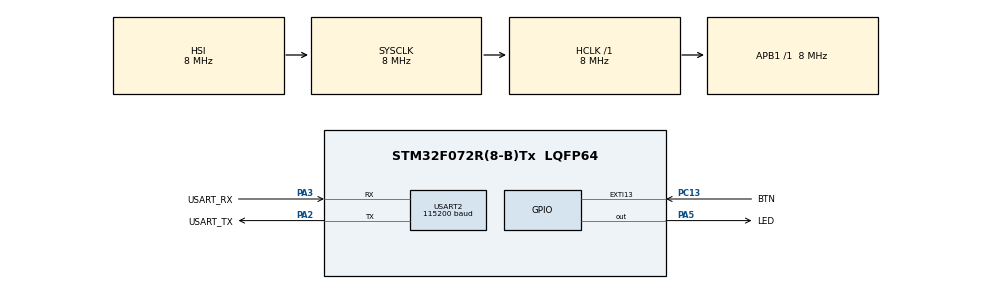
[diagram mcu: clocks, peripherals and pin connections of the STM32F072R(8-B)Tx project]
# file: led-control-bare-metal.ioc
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Mcu.Family=STM32F0
Mcu.Name=STM32F072R(8-B)Tx
Mcu.Package=LQFP64
NVIC.EXTI4_15_IRQn=true\:0\:0\:false\:false\:true\:true\:true\:true
NVIC.RTC_IRQn=true\:0\:0\:false\:false\:true\:true\:true\:true
NVIC.TIM17_IRQn=true\:0\:0\:false\:false\:true\:true\:true\:true
NVIC.USART2_IRQn=true\:0\:0\:false\:false\:true\:true\:true\:true
PA13.GPIO_Label=SWDIO
PA13.Mode=Serial_Wire
PA13.Signal=SYS_SWDIO
PA14.GPIO_Label=SWCLK
PA14.Mode=Serial_Wire
PA14.Signal=SYS_SWCLK
PA2.GPIO_Label=USART_TX
PA2.GPIO_Mode=GPIO_MODE_AF_PP
PA2.GPIO_PuPd=GPIO_NOPULL
PA2.GPIO_Speed=GPIO_SPEED_FREQ_LOW
PA2.Mode=Asynchronous
PA2.Signal=USART2_TX
PA3.GPIO_Label=USART_RX
PA3.GPIO_Mode=GPIO_MODE_AF_PP
PA3.GPIO_PuPd=GPIO_NOPULL
PA3.GPIO_Speed=GPIO_SPEED_FREQ_LOW
PA3.Mode=Asynchronous
PA3.Signal=USART2_RX
PA5.GPIO_Label=LED
PA5.GPIO_Mode=GPIO_MODE_OUTPUT_PP
PA5.GPIO_PuPd=GPIO_NOPULL
PA5.GPIO_Speed=GPIO_SPEED_FREQ_LOW
PA5.Signal=GPIO_Output
PC13.GPIO_Label=BTN
PC13.GPIO_ModeDefaultEXTI=GPIO_MODE_IT_RISING_FALLING
PC13.Signal=GPXTI13
PC14-OSC32_IN.Mode=LSE-External-Oscillator
PC14-OSC32_IN.Signal=RCC_OSC32_IN
PC15-OSC32_OUT.Mode=LSE-External-Oscillator
PC15-OSC32_OUT.Signal=RCC_OSC32_OUT
ProjectManager.HeapSize=0x200
ProjectManager.StackSize=0x400
ProjectManager.TargetToolchain=STM32CubeIDE
RCC.AHBFreq_Value=8000000
RCC.APB1Freq_Value=8000000
RCC.APB1TimFreq_Value=8000000
RCC.FLatency-AdvancedSettings=FLASH_LATENCY_0
RCC.HCLKFreq_Value=8000000
RCC.PLLDivider=RCC_PREDIV_DIV2
RCC.PLLMUL=RCC_PLL_MUL12
RCC.PREFETCH_ENABLE-AdvancedSettings=1
RCC.RTCClockSelection=RCC_RTCCLKSOURCE_LSE
RCC.SYSCLKFreq_VALUE=8000000
RTC.WakeUpClock-WakeUp=RTC_WAKEUPCLOCK_CK_SPRE_16BITS
TIM17.Period=65535
TIM17.Prescaler=7999
USART2.BaudRate=115200
USART2.VirtualMode=VM_ASYNC
USART2.VirtualMode-Asynchronous=VM_ASYNC
VP_RTC_VS_RTC_Activate.Mode=RTC_Enabled
VP_RTC_VS_RTC_WakeUp_intern.Mode=WakeUp
VP_TIM17_VS_ClockSourceINT.Mode=Enable_Timer
board=NUCLEO-F072RB

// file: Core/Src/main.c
/* USER CODE BEGIN Header */
/**
 ******************************************************************************
 * @file           : main.c
 * @brief          : Main program body
 ******************************************************************************
 * @attention
 *
 * Copyright (c) 2023 STMicroelectronics.
 * All rights reserved.
 *
 * This software is licensed under terms that can be found in the LICENSE file
 * in the root directory of this software component.
 * If no LICENSE file comes with this software, it is provided AS-IS.
 *
 ******************************************************************************
 */
/* USER CODE END Header */
#include "main.h"
#include "gpio.h"
#include "rtc.h"
#include "tim.h"
#include "usart.h"

/* USER CODE BEGIN Includes */
#include "button.h"

/* USER CODE END Includes */

/* USER CODE BEGIN PV */

static const char big_msg[] = "a191f8d6ea9cadff3ff58a915d6f0318f6caf45e1762fa381\
61c7266ad4ab1b5ddd530a72f3ef17c592805e3ea60aa69ae103a079fa6a9e471d06d5b441bf0f2b\
62f40fd7c6c58e5548e18e0690376b317a143d3795a479c4c2f680a792be26eaa9c7745c52d8ded6\
b3c7a9f0335c7a9e1039b176a15c1805f09fcefcbd94890b985f7ecdbe33b11d564c38cfa35a9f9a\
65cbb1bbc1d1a85a60a035ceb5d7d1c409854692ea30796615d516ee9a9f7c7418b8809d01ae9763\
e992b57884335143e2b65de13e77013479b12d7e150135f7500f86891e31df4e351a5fd60c5a1229\
bae58fa81a82421c54dceaf9cd77297bc76edc6ca4df462e6c26b02b18e4341f96e8cd68df581306\
62c4836c5f6c150ca7c42a539558e080d6efdaf015710d347eb5e14b69c07052f388d398f9bfe02c\
e01075b180d86ac9a5ad47a67f353c40849b88fc842d72508b1eadec6fb40fe184d6af61822d9a4f\
53224c9d99f1b5978b0f502273d0811a0f0468d6ad4c8423cf14218d0b5f3edef6fb48d2b1e86456\
6a728d03d0615a6b86327e6d86ca695c168f932aaf4d925d915a42229a717ca9a372e3e2b45947dd\
402fe7a74a8dda1a7843096f9ea8224cfc0c833238b083abc172379ca508ae8bf759e87e3a487dc3\
61c7266ad4ab1b5ddd530a72f3ef17c592805e3ea60aa69ae103a079fa6a9e471d06d5b441bf0f2b\
62f40fd7c6c58e5548e18e0690376b317a143d3795a479c4c2f680a792be26eaa9c7745c52d8ded6\
b3c7a9f0335c7a9e1039b176a15c1805f09fcefcbd94890b985f7ecdbe33b11d564c38cfa35a9f9a\
65cbb1bbc1d1a85a60a035ceb5d7d1c409854692ea30796615d516ee9a9f7c7418b8809d01ae9763\
bae58fa81a82421c54dceaf9cd77297bc76edc6ca4df462e6c26b02b18e4341f96e8cd68df581306\
62f40fd7c6c58e5548e18e0690376b317a143d3795a479c4c2f680a792be26eaa9c7745c52d8ded6\
b3c7a9f0335c7a9e1039b176a15c1805f09fcefcbd94890b985f7ecdbe33b11d564c38cfa35a9f9a\
65cbb1bbc1d1a85a60a035ceb5d7d1c409854692ea30796615d516ee9a9f7c7418b8809d01ae9763\
e992b57884335143e2b65de13e77013479b12d7e150135f7500f86891e31df4e351a5fd60c5a1229\
bae58fa81a82421c54dceaf9cd77297bc76edc6ca4df462e6c26b02b18e4341f96e8cd68df581306\
62c4836c5f6c150ca7c42a539558e080d6efdaf015710d347eb5e14b69c07052f388d398f9bfe02c\
e01075b180d86ac9a5ad47a67f353c40849b88fc842d72508b1eadec6fb40fe184d6af61822d9a4f\
53224c9d99f1b5978b0f502273d0811a0f0468d6ad4c8423cf14218d0b5f3edef6fb48d2b1e86456\
6a728d03d0615a6b86327e6d86ca695c168f932aaf4d925d915a42229a717ca9a372e3e2b45947dd\
402fe7a74a8dda1a7843096f9ea8224cfc0c833238b083abc172379ca508ae8bf759e87e3a487dc3\
e992b57884335143e2b65de13e77013479b12d7e150135f7500f86891e31df4e351a5fd60c5a1229\
bae58fa81a82421c54dceaf9cd77297bc76edc6ca4df462e6c26b02b18e4341f96e8cd68df581306\
62c4836c5f6c150ca7c42a539558e080d6efdaf015710d347eb5e14b69c07052f388d398f9bfe02c\
e01075b180d86ac9a5ad47a67f353c40849b88fc842d72508b1eadec6fb40fe184d6af61822d9a4f\
53224c9d99f1b5978b0f502273d0811a0f0468d6ad4c8423cf14218d0b5f3edef6fb48d2b1e86456\
6a728d03d0615a6b86327e6d86ca695c168f932aaf4d925d915a42229a717ca9a372e3e2b45947dd\
402fe7a74a8dda1a7843096f9ea8224cfc0c833238b083abc172379ca508ae8bf759e87e3a487dc3\
61c7266ad4ab1b5ddd530a72f3ef17c592805e3ea60aa69ae103a079fa6a9e471d06d5b441bf0f2b\
62f40fd7c6c58e5548e18e0690376b317a143d3795a479c4c2f680a792be26eaa9c7745c52d8ded6\
b3c7a9f0335c7a9e1039b176a15c1805f09fcefcbd94890b985f7ecdbe33b11d564c38cfa35a9f9a\
65cbb1bbc1d1a85a60a035ceb5d7d1c409854692ea30796615d516ee9a9f7c7418b8809d01ae9763\
e992b57884335143e2b65de13e77013479b12d7e150135f7500f86891e31df4e351a5fd60c5a1229\
65cbb1bbc1d1a85a60a035ceb5d7d1c409854692ea30796615d516ee9a9f7c7418b8809d01ae9763\
e992b57884335143e2b65de13e77013479b12d7e150135f7500f86891e31df4e351a5fd60c5a1229\
bae58fa81a82421c54dceaf9cd77297bc76edc6ca4df462e6c26b02b18e4341f96e8cd68df581306\
62c4836c5f6c150ca7c42a539558e080d6efdaf015710d347eb5e14b69c07052f388d398f9bfe02c\
e01075b180d86ac9a5ad47a67f353c40849b88fc842d72508b1eadec6fb40fe184d6af61822d9a4f\
bae58fa81a82421c54dceaf9cd77297bc76edc6ca4df462e6c26b02b18e4341f96e8cd68df581306\
62c4836c5f6c150ca7c42a539558e080d6efdaf015710d347eb5e14b69c07052f388d398f9bfe02c\
e01075b180d86ac9a5ad47a67f353c40849b88fc842d72508b1eadec6fb40fe184d6af61822d9a4f\
53224c9d99f1b5978b0f502273d0811a0f0468d6ad4c8423cf14218d0b5f3edef6fb48d2b1e86456\
6a728d03d0615a6b86327e6d86ca695c168f932aaf4d925d915a42229a717ca9a372e3e2b45947dd\
402fe7a74a8dda1a7843096f9ea8224cfc0c833238b083abc172379ca508ae8bf759e87e3a487dc3\
a915a66fd4e2da9484811bb0c8dcc644bd9acd8a8081d90240aa700a97240033dd0d4f2gz37h6dr4\
rf5r54dceaf9cd77297bc76ed24cfc08fc842d7c83v6gh";

/* USER CODE END PV */

void SystemClock_Config(void);
/* USER CODE BEGIN PFP */

void user_click_event(void);
void enter_sequence_running(void);
void enter_sequence_stanby(void);
void stop_sequence(void);

/* USER CODE END PFP */

int main(void)
{

    /* MCU Configuration--------------------------------------------------------*/

    /* Reset of all peripherals, Initializes the Flash interface and the Systick. */
    HAL_Init();

    /* Configure the system clock */
    SystemClock_Config();

    /* Initialize all configured peripherals */
    MX_GPIO_Init();
    MX_RTC_Init();
    MX_TIM17_Init();
    MX_USART2_UART_Init();
    /* USER CODE BEGIN 2 */

    infoPrintln("Device started !");

    reset_button_variables();

    button_event_t btn_state;

    /* USER CODE END 2 */

    /* Infinite loop */
    /* USER CODE BEGIN WHILE */
    while (1) {
        /* Read the btn event */
        btn_state = get_button_state();

        if (btn_state == BTN_CLICK) {
            user_click_event();
        }

        if (btn_state == BTN_DOUBLE_CLICK) {
            /* Send the big frame over UART */
            uart2_print(big_msg, sizeof(big_msg));
        }

        /* USER CODE END WHILE */

    }
}

void SystemClock_Config(void)
{
    RCC_OscInitTypeDef       RCC_OscInitStruct = { 0 };
    RCC_ClkInitTypeDef       RCC_ClkInitStruct = { 0 };
    RCC_PeriphCLKInitTypeDef PeriphClkInit     = { 0 };

    /** Configure LSE Drive Capability
     */
    HAL_PWR_EnableBkUpAccess();
    __HAL_RCC_LSEDRIVE_CONFIG(RCC_LSEDRIVE_HIGH);

    /** Initializes the RCC Oscillators according to the specified parameters
     * in the RCC_OscInitTypeDef structure.
     */
    RCC_OscInitStruct.OscillatorType      = RCC_OSCILLATORTYPE_HSI | RCC_OSCILLATORTYPE_LSE;
    RCC_OscInitStruct.LSEState            = RCC_LSE_ON;
    RCC_OscInitStruct.HSIState            = RCC_HSI_ON;
    RCC_OscInitStruct.HSICalibrationValue = RCC_HSICALIBRATION_DEFAULT;
    RCC_OscInitStruct.PLL.PLLState        = RCC_PLL_NONE;
    if (HAL_RCC_OscConfig(&RCC_OscInitStruct) != HAL_OK) {
        Error_Handler();
    }

    /** Initializes the CPU, AHB and APB buses clocks
     */
    RCC_ClkInitStruct.ClockType = RCC_CLOCKTYPE_HCLK | RCC_CLOCKTYPE_SYSCLK
        | RCC_CLOCKTYPE_PCLK1;
    RCC_ClkInitStruct.SYSCLKSource   = RCC_SYSCLKSOURCE_HSI;
    RCC_ClkInitStruct.AHBCLKDivider  = RCC_SYSCLK_DIV1;
    RCC_ClkInitStruct.APB1CLKDivider = RCC_HCLK_DIV1;

    if (HAL_RCC_ClockConfig(&RCC_ClkInitStruct, FLASH_LATENCY_0) != HAL_OK) {
        Error_Handler();
    }
    PeriphClkInit.PeriphClockSelection = RCC_PERIPHCLK_USART2 | RCC_PERIPHCLK_RTC;
    PeriphClkInit.Usart2ClockSelection = RCC_USART2CLKSOURCE_PCLK1;
    PeriphClkInit.RTCClockSelection    = RCC_RTCCLKSOURCE_LSE;
    if (HAL_RCCEx_PeriphCLKConfig(&PeriphClkInit) != HAL_OK) {
        Error_Handler();
    }
}

/* USER CODE BEGIN 4 */

/* Current state of the device */
static app_state_t _app_state = APP_SHUTDOWN;

/* Get the current app state */
app_state_t get_current_app_state(void)
{
    return _app_state;
}

/* Process device state change consecutive to button press */
void user_click_event(void)
{
    infoPrintln("User click");

    switch (_app_state) {
    case APP_SHUTDOWN:
        _app_state = APP_RUNNING;
        enter_sequence_running();
        break;
    case APP_RUNNING:
    case APP_STANDBY:
        _app_state = APP_SHUTDOWN;
        stop_sequence();
        break;
    default:
        break;
    }
}

/* Process device state change consecutive to RTC IRQ */
void RTC_wakeup_IRQ(void)
{
    stop_RTC_periodic_wkup();

    switch (_app_state) {
    case APP_RUNNING:
        _app_state = APP_STANDBY;
        enter_sequence_stanby();
        break;
    case APP_STANDBY:
        _app_state = APP_RUNNING;
        enter_sequence_running();
        break;
    case APP_SHUTDOWN:
        /* Should never happen */
        stop_sequence();
        break;
    default:
        break;
    }
}

/* The device starts running for 20s */
void enter_sequence_running(void)
{
    /* TODO: Currently the led toggles every 300ms. (300ms ON - 300ms OFF)
     * We would rather prefer the led to make a short blink every 3s (150ms ON - 2.850s OFF)
     *
     * Send the message "Enter running !" on UART2 rather than on RTT output */

    infoPrintln("Enter running !");

    start_TIM_periodic_wkup(5); /* First blink will happend in 5ms */
    start_RTC_periodic_wkup(20);
}

/* The device enters standby for 40s */
void enter_sequence_stanby(void)
{
    /* TODO: Currently the led toggles every 600ms. (600ms ON - 600ms OFF)
     * We would rather prefer the led to make a short blink every 10s (150ms ON - 9.850s OFF)
     *
     * Send the message "Enter standby !" on UART2 rather than on RTT output */

    infoPrintln("Enter standby !");

    start_TIM_periodic_wkup(5); /* First blink will happend in 5ms */
    start_RTC_periodic_wkup(40);
}

/* The device cycle stops */
void stop_sequence(void)
{
    /* TODO: We would like a 4 blink scheme as soon as the cycle stops, to inform the user
     * that the app effectively stopped running: (150ms ON - 150ms OFF) x4
     *
     * Send the message "Enter shutdown !" on UART2 rather than on RTT output*/

    infoPrintln("Enter shutdown !");

    stop_RTC_periodic_wkup();
    stop_TIM_periodic_wkup();
    set_LED(false);
}

/* USER CODE END 4 */

void Error_Handler(void)
{
    __disable_irq();
    while (1) {
    }
}
